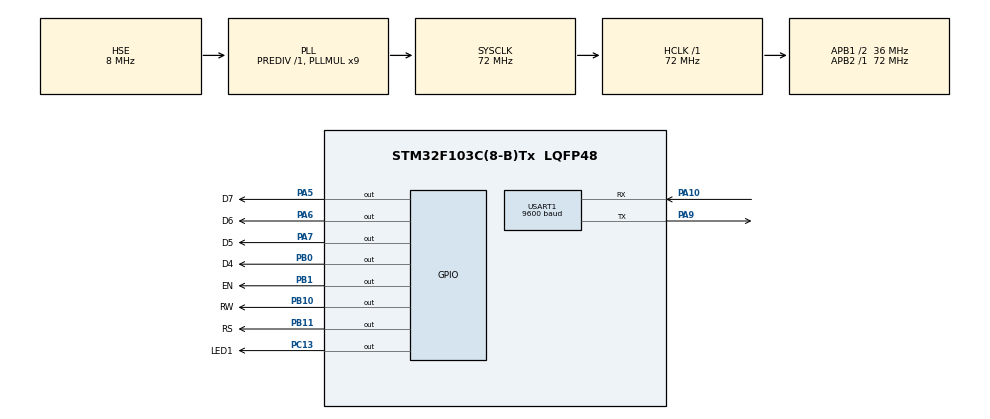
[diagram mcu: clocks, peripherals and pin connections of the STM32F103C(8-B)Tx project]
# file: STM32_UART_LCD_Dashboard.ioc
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Mcu.Family=STM32F1
Mcu.Name=STM32F103C(8-B)Tx
Mcu.Package=LQFP48
NVIC.PriorityGroup=NVIC_PRIORITYGROUP_4
PA10.Mode=Asynchronous
PA10.Signal=USART1_RX
PA13.Mode=Serial_Wire
PA13.Signal=SYS_JTMS-SWDIO
PA14.Mode=Serial_Wire
PA14.Signal=SYS_JTCK-SWCLK
PA5.GPIO_Label=D7
PA5.Signal=GPIO_Output
PA6.GPIO_Label=D6
PA6.Signal=GPIO_Output
PA7.GPIO_Label=D5
PA7.Signal=GPIO_Output
PA9.Mode=Asynchronous
PA9.Signal=USART1_TX
PB0.GPIO_Label=D4
PB0.Signal=GPIO_Output
PB1.GPIO_Label=EN
PB1.Signal=GPIO_Output
PB10.GPIO_Label=RW
PB10.Signal=GPIO_Output
PB11.GPIO_Label=RS
PB11.Signal=GPIO_Output
PC13-TAMPER-RTC.GPIO_Label=LED1
PC13-TAMPER-RTC.Signal=GPIO_Output
PD0-OSC_IN.Mode=HSE-External-Oscillator
PD0-OSC_IN.Signal=RCC_OSC_IN
PD1-OSC_OUT.Mode=HSE-External-Oscillator
PD1-OSC_OUT.Signal=RCC_OSC_OUT
ProjectManager.HeapSize=0x1000
ProjectManager.StackSize=0x800
ProjectManager.TargetToolchain=STM32CubeIDE
RCC.ADCPresc=RCC_ADCPCLK2_DIV6
RCC.AHBFreq_Value=72000000
RCC.APB1CLKDivider=RCC_HCLK_DIV2
RCC.APB1Freq_Value=36000000
RCC.APB1TimFreq_Value=72000000
RCC.APB2Freq_Value=72000000
RCC.APB2TimFreq_Value=72000000
RCC.EnbaleCSS=true
RCC.HCLKFreq_Value=72000000
RCC.PLLMUL=RCC_PLL_MUL9
RCC.PLLSourceVirtual=RCC_PLLSOURCE_HSE
RCC.RCC_MCOSource=RCC_MCO1SOURCE_PLLCLK
RCC.SYSCLKFreq_VALUE=72000000
RCC.SYSCLKSource=RCC_SYSCLKSOURCE_PLLCLK
RCC.USBFreq_Value=72000000
USART1.BaudRate=9600
USART1.VirtualMode=VM_ASYNC
board=custom

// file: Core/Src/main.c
/* USER CODE BEGIN Header */
/**
 ******************************************************************************
 * @file           : main.c
 * @brief          : Main program body
 ******************************************************************************
 * @attention
 *
 * Copyright (c) 2025 STMicroelectronics.
 * All rights reserved.
 *
 * This software is licensed under terms that can be found in the LICENSE file
 * in the root directory of this software component.
 * If no LICENSE file comes with this software, it is provided AS-IS.
 *
 ******************************************************************************
 */
/* USER CODE END Header */
#include "main.h"

/* USER CODE BEGIN Includes */
#include "lcd16x2.h"
#include "dwt_config.h"
#include "uart_handler.h"
/* USER CODE END Includes */

/* USER CODE BEGIN PM */
#define LED1(x) (x==1 ? (HAL_GPIO_WritePin(LED1_GPIO_Port, LED1_Pin, GPIO_PIN_SET)) : (HAL_GPIO_WritePin(LED1_GPIO_Port, LED1_Pin, GPIO_PIN_RESET)))
/* USER CODE END PM */

UART_HandleTypeDef huart1;

void SystemClock_Config(void);
static void MX_GPIO_Init(void);
static void MX_USART1_UART_Init(void);

int main(void)
{

  /* MCU Configuration--------------------------------------------------------*/

  /* Reset of all peripherals, Initializes the Flash interface and the Systick. */
  HAL_Init();

  /* Configure the system clock */
  SystemClock_Config();

  /* Initialize all configured peripherals */
  MX_GPIO_Init();
  MX_USART1_UART_Init();
  /* USER CODE BEGIN 2 */
  DWT_Init();
  LCD_Init();
  UART1_Init();

  LCD_Clear();
  LCD_Set_Cursor(0, 0);

  LCD_Print("UART Ready !!!");
  LCD_Set_Cursor(1, 0);
  LCD_Print("Rx: ");

  /* USER CODE END 2 */

  /* Infinite loop */
  /* USER CODE BEGIN WHILE */
  while(1)
  {
    if(!UART1_Buffer_Empty(&usart1_rx_buf))
    {
      char ch = UART1_Buffer_Read(&usart1_rx_buf);

      // Display on LCD
      LCD_Set_Cursor(1, 5);
      LCD_Write_Data(ch);
    }
    /* USER CODE END WHILE */

  }
}

void SystemClock_Config(void)
{
  RCC_OscInitTypeDef RCC_OscInitStruct = { 0 };
  RCC_ClkInitTypeDef RCC_ClkInitStruct = { 0 };

  /** Initializes the RCC Oscillators according to the specified parameters
   * in the RCC_OscInitTypeDef structure.
   */
  RCC_OscInitStruct.OscillatorType = RCC_OSCILLATORTYPE_HSE;
  RCC_OscInitStruct.HSEState = RCC_HSE_ON;
  RCC_OscInitStruct.HSEPredivValue = RCC_HSE_PREDIV_DIV1;
  RCC_OscInitStruct.HSIState = RCC_HSI_ON;
  RCC_OscInitStruct.PLL.PLLState = RCC_PLL_ON;
  RCC_OscInitStruct.PLL.PLLSource = RCC_PLLSOURCE_HSE;
  RCC_OscInitStruct.PLL.PLLMUL = RCC_PLL_MUL9;
  if(HAL_RCC_OscConfig(&RCC_OscInitStruct) != HAL_OK)
  {
    Error_Handler();
  }

  /** Initializes the CPU, AHB and APB buses clocks
   */
  RCC_ClkInitStruct.ClockType = RCC_CLOCKTYPE_HCLK | RCC_CLOCKTYPE_SYSCLK | RCC_CLOCKTYPE_PCLK1 | RCC_CLOCKTYPE_PCLK2;
  RCC_ClkInitStruct.SYSCLKSource = RCC_SYSCLKSOURCE_PLLCLK;
  RCC_ClkInitStruct.AHBCLKDivider = RCC_SYSCLK_DIV1;
  RCC_ClkInitStruct.APB1CLKDivider = RCC_HCLK_DIV2;
  RCC_ClkInitStruct.APB2CLKDivider = RCC_HCLK_DIV1;

  if(HAL_RCC_ClockConfig(&RCC_ClkInitStruct, FLASH_LATENCY_2) != HAL_OK)
  {
    Error_Handler();
  }

  /** Enables the Clock Security System
   */
  HAL_RCC_EnableCSS();
}

static void MX_USART1_UART_Init(void)
{

  huart1.Instance = USART1;
  huart1.Init.BaudRate = 9600;
  huart1.Init.WordLength = UART_WORDLENGTH_8B;
  huart1.Init.StopBits = UART_STOPBITS_1;
  huart1.Init.Parity = UART_PARITY_NONE;
  huart1.Init.Mode = UART_MODE_TX_RX;
  huart1.Init.HwFlowCtl = UART_HWCONTROL_NONE;
  huart1.Init.OverSampling = UART_OVERSAMPLING_16;
  if(HAL_UART_Init(&huart1) != HAL_OK)
  {
    Error_Handler();
  }

}

static void MX_GPIO_Init(void)
{
  GPIO_InitTypeDef GPIO_InitStruct = { 0 };

  /* GPIO Ports Clock Enable */
  __HAL_RCC_GPIOC_CLK_ENABLE();
  __HAL_RCC_GPIOD_CLK_ENABLE();
  __HAL_RCC_GPIOA_CLK_ENABLE();
  __HAL_RCC_GPIOB_CLK_ENABLE();

  /*Configure GPIO pin Output Level */
  HAL_GPIO_WritePin(LED1_GPIO_Port, LED1_Pin, GPIO_PIN_RESET);

  /*Configure GPIO pin Output Level */
  HAL_GPIO_WritePin(GPIOA, D7_Pin | D6_Pin | D5_Pin, GPIO_PIN_RESET);

  /*Configure GPIO pin Output Level */
  HAL_GPIO_WritePin(GPIOB, D4_Pin | EN_Pin | RW_Pin | RS_Pin, GPIO_PIN_RESET);

  /*Configure GPIO pin : LED1_Pin */
  GPIO_InitStruct.Pin = LED1_Pin;
  GPIO_InitStruct.Mode = GPIO_MODE_OUTPUT_PP;
  GPIO_InitStruct.Pull = GPIO_NOPULL;
  GPIO_InitStruct.Speed = GPIO_SPEED_FREQ_LOW;
  HAL_GPIO_Init(LED1_GPIO_Port, &GPIO_InitStruct);

  /*Configure GPIO pins : D7_Pin D6_Pin D5_Pin */
  GPIO_InitStruct.Pin = D7_Pin | D6_Pin | D5_Pin;
  GPIO_InitStruct.Mode = GPIO_MODE_OUTPUT_PP;
  GPIO_InitStruct.Pull = GPIO_NOPULL;
  GPIO_InitStruct.Speed = GPIO_SPEED_FREQ_LOW;
  HAL_GPIO_Init(GPIOA, &GPIO_InitStruct);

  /*Configure GPIO pins : D4_Pin EN_Pin RW_Pin RS_Pin */
  GPIO_InitStruct.Pin = D4_Pin | EN_Pin | RW_Pin | RS_Pin;
  GPIO_InitStruct.Mode = GPIO_MODE_OUTPUT_PP;
  GPIO_InitStruct.Pull = GPIO_NOPULL;
  GPIO_InitStruct.Speed = GPIO_SPEED_FREQ_LOW;
  HAL_GPIO_Init(GPIOB, &GPIO_InitStruct);

}

void Error_Handler(void)
{
  __disable_irq();
  while(1)
  {
  }
}
